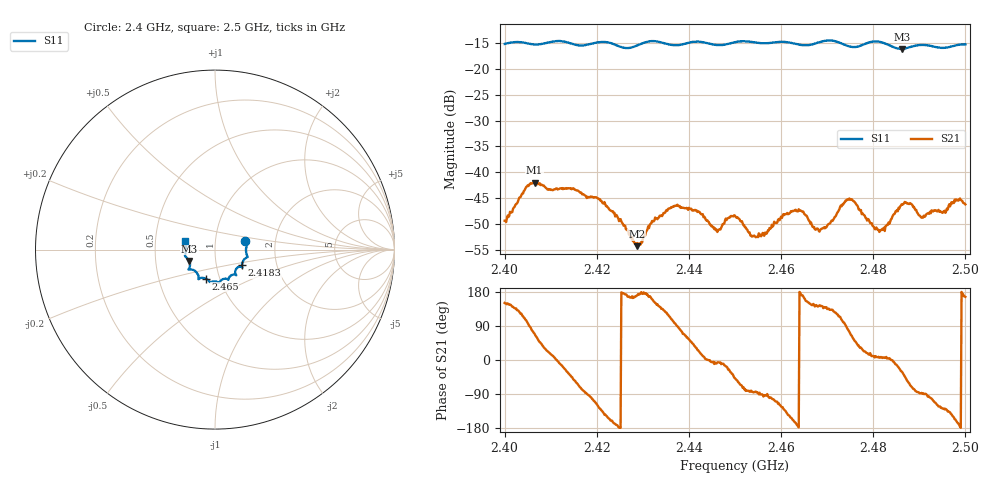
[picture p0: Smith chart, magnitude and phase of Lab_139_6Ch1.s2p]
# Hz S RI R 50
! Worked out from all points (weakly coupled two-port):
!   601 points, 2.4 GHz to 2.5 GHz, reference 50 ohm
!   highest |S21| = -42.00 dB at 2.4065 GHz (marker M1); lowest = -54.3 dB at 2.4287 GHz (marker M2)
!   lowest |S11| = -16.1 dB at 2.4862 GHz (marker M3), VSWR 1.37, Z = 37.2 - j4.8 ohm
!   |S11| at or under -10 dB: start of sweep to end of sweep
!   S12 and S22 are empty: the file has one direction only
!   S11 on the Smith chart (normalised r, x): 2.4 GHz: 1.40, +0.13; 2.4183 GHz: 1.33, -0.24; 2.465 GHz: 0.86, -0.28; 2.5 GHz: 0.71, +0.07
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2.4e9  0.1687 0.0461  -0.00296 0.00167  0 0  0 0
2.4065e9  0.1727 0.00284  0.00279 0.00744  0 0  0 0
2.416667e9  0.1546 -0.0678  0.00152 -0.00616  0 0  0 0
2.418333e9  0.1499 -0.087  -0.000398 -0.00569  0 0  0 0
2.422e9  0.1526 -0.0994  -0.00392 -0.00259  0 0  0 0
2.428667e9  0.1123 -0.1253  -0.0019 0.000328  0 0  0 0
2.433333e9  0.1177 -0.1412  -0.00289 0.00218  0 0  0 0
2.4375e9  0.0862 -0.1463  7.24e-05 0.00485  0 0  0 0
2.441833e9  0.0742 -0.1688  0.00368 0.00185  0 0  0 0
2.446333e9  0.0507 -0.1628  0.00275 -0.000296  0 0  0 0
2.45e9  0.0256 -0.1802  0.00254 -0.00283  0 0  0 0
2.4545e9  0.0114 -0.1798  0.00028 -0.00233  0 0  0 0
2.460833e9  -0.0293 -0.1804  -0.00266 -0.00286  0 0  0 0
2.465e9  -0.0524 -0.1612  -0.0038 0.00114  0 0  0 0
2.466667e9  -0.0711 -0.1572  -0.00253 0.00178  0 0  0 0
2.4695e9  -0.0908 -0.1638  -0.00217 0.00186  0 0  0 0
2.474833e9  -0.0993 -0.1321  0.00152 0.00536  0 0  0 0
2.480833e9  -0.148 -0.1103  0.00281 0.000372  0 0  0 0
2.483333e9  -0.141 -0.0966  0.00326 0.000215  0 0  0 0
2.486167e9  -0.1432 -0.063  0.00423 -0.00246  0 0  0 0
2.490833e9  -0.1675 -0.0345  0.000153 -0.00364  0 0  0 0
2.5e9  -0.1668 0.047  -0.00475 0.00114  0 0  0 0
